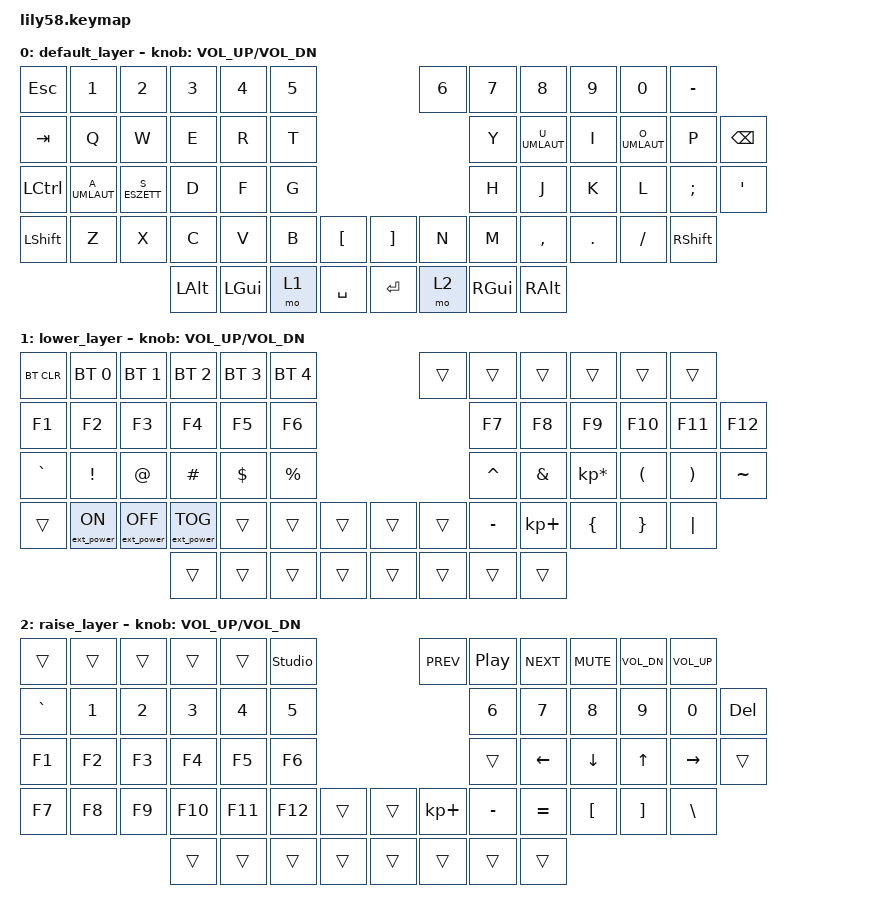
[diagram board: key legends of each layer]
/*
 * Copyright (c) 2020 The ZMK Contributors
 *
 * SPDX-License-Identifier: MIT
 */

#include <behaviors.dtsi>
#include <dt-bindings/zmk/keys.h>
#include <dt-bindings/zmk/bt.h>
#include <dt-bindings/zmk/ext_power.h>

#include <locale/keys_us_international.h>

#define AM(NAME, DISPLAY_NAME, TAP, SHIFTED)    \
    NAME: NAME {                                \
        compatible = "zmk,behavior-mod-morph";  \
        #binding-cells = <0>;                   \
        bindings = <TAP>, <SHIFTED>;            \
        mods = <(MOD_LALT|MOD_RALT)>;           \
        keep-mods = <(MOD_RALT)>;               \
        display-name = #DISPLAY_NAME;           \
    };

/ {
	mod-morph {
		AM(A_UMLAUT, A_UMLAUT, &kp A, &kp EN_A_UMLAUT)
		AM(O_UMLAUT, O_UMLAUT, &kp O, &kp EN_O_UMLAUT)
		AM(U_UMLAUT, U_UMLAUT, &kp U, &kp EN_U_UMLAUT)
		AM(S_ESZETT, S_ESZETT, &kp S, &kp EN_ESZETT)
	};

	keymap {
		compatible = "zmk,keymap";

		default_layer {
// ------------------------------------------------------------------------------------------------------------
// |  ESC  |  1  |  2  |  3   |  4   |  5   |                   |  6   |  7    |  8    |  9   |   0   |   -   |
// |  TAB  |  Q  |  W  |  E   |  R   |  T   |                   |  Y   |  U    |  I    |  O   |   P   | BSPC  |
// |  CTRL |  A  |  S  |  D   |  F   |  G   |                   |  H   |  J    |  K    |  L   |   ;   |   '   |
// | SHIFT |  Z  |  X  |  C   |  V   |  B   |   "["  |  |  "]"  |  N   |  M    |  ,    |  .   |   /   | SHIFT |
//                     | ALT  | GUI  | LOWER|  SPACE |  | ENTER | RAISE|  GUI  | ALT   |
			bindings = <
&kp ESC   &kp N1 &kp N2 &kp N3   &kp N4   &kp N5                     &kp N6 &kp N7   &kp N8    &kp N9  &kp N0   &kp MINUS
&kp TAB   &kp Q  &kp W  &kp E    &kp R    &kp T                      &kp Y  &U_UMLAUT    &kp I     &O_UMLAUT   &kp P    &kp BSPC
&kp LCTRL &A_UMLAUT  &S_ESZETT  &kp D    &kp F    &kp G                      &kp H  &kp J    &kp K     &kp L   &kp SEMI &kp SQT
&kp LSHFT &kp Z  &kp X  &kp C    &kp V    &kp B  &kp LBKT   &kp RBKT &kp N  &kp M    &kp COMMA &kp DOT &kp FSLH &kp RSHFT
                        &kp LALT &kp LGUI &mo 1  &kp SPACE  &kp RET  &mo 2  &kp RGUI &kp RALT
			>;

			sensor-bindings = <&inc_dec_kp C_VOL_UP C_VOL_DN>;
		};

		lower_layer {
// ------------------------------------------------------------------------------------------------------------
// | BTCLR | BT1 | BT2 |  BT3 |  BT4 |  BT5 |                   |      |       |       |      |       |       |
// |  F1   |  F2 |  F3 |  F4  |  F5  |  F6  |                   |  F7  |  F8   |  F9   |  F10 |  F11  |  F12  |
// |   `   |  !  |  @  |  #   |  $   |  %   |                   |  ^   |  &    |  *    |  (   |   )   |   ~   |
// |       |     |     |      |      |      |        |  |       |      |  _    |  +    |  {   |   }   |  "|"  |
//                     |      |      |      |        |  |       |      |       |       |
			bindings = <
&bt BT_CLR &bt BT_SEL 0     &bt BT_SEL 1      &bt BT_SEL 2      &bt BT_SEL 3 &bt BT_SEL 4                 &trans    &trans    &trans          &trans    &trans    &trans
&kp F1     &kp F2           &kp F3            &kp F4            &kp F5       &kp F6                       &kp F7    &kp F8    &kp F9          &kp F10   &kp F11   &kp F12
&kp GRAVE  &kp EXCL         &kp AT            &kp HASH          &kp DOLLAR   &kp PRCNT                    &kp CARET &kp AMPS  &kp KP_MULTIPLY &kp LPAR  &kp RPAR  &kp TILDE
&trans     &ext_power EP_ON &ext_power EP_OFF &ext_power EP_TOG &trans       &trans    &trans   &trans    &trans    &kp MINUS &kp KP_PLUS     &kp LBRC  &kp RBRC  &kp PIPE
                                              &trans            &trans       &trans    &trans   &trans    &trans    &trans    &trans
			>;

			sensor-bindings = <&inc_dec_kp C_VOL_UP C_VOL_DN>;
		};

		raise_layer {
// ------------------------------------------------------------------------------------------------------------
// |       |     |     |      |      |      |                   | PREV |  PLAY |  NEXT | MUTE | VOLUP |VOLDOWN|
// |   `   |  1  |  2  |  3   |  4   |  5   |                   |  6   |   7   |   8   |  9   |   0   |  DEL  |
// |   F1  |  F2 |  F3 |  F4  |  F5  |  F6  |                   |      |   <-  |   ^   |  v   |  ->   |       |
// |   F7  |  F8 |  F9 |  F10 |  F11 |  F12 |        |  |       |  +   |   -   |   =   |  [   |   ]   |   \   |
//                     |      |      |      |        |  |       |      |       |       |
			bindings = <
&trans    &trans &trans &trans  &trans  &studio_unlock                       &kp C_PREV  &kp C_PP  &kp C_NEXT &kp C_MUTE &kp C_VOL_DN &kp C_VOL_UP
&kp GRAVE &kp N1 &kp N2 &kp N3  &kp N4  &kp N5                       &kp N6      &kp N7    &kp N8     &kp N9     &kp N0       &kp DELETE
&kp F1    &kp F2 &kp F3 &kp F4  &kp F5  &kp F6                       &trans      &kp LEFT  &kp DOWN   &kp UP     &kp RIGHT    &trans
&kp F7    &kp F8 &kp F9 &kp F10 &kp F11 &kp F12   &trans   &trans    &kp KP_PLUS &kp MINUS &kp EQUAL  &kp LBKT   &kp RBKT     &kp BSLH
                        &trans  &trans  &trans    &trans   &trans    &trans      &trans    &trans
			>;

			sensor-bindings = <&inc_dec_kp C_VOL_UP C_VOL_DN>;
		};

		extra1 {
            status = "reserved";
        };

        extra2 {
            status = "reserved";
        };
	};
};
